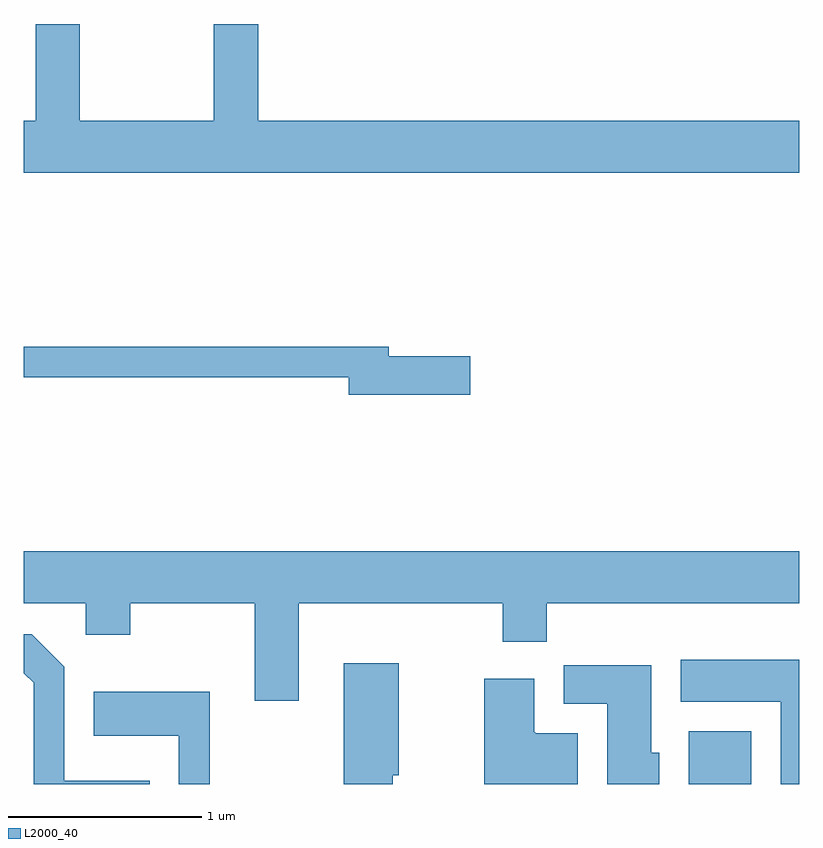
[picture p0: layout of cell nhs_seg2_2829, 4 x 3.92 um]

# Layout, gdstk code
import gdstk
lib = gdstk.Library(unit=1e-6, precision=1e-09)
def R(c, l, rs):  # rectangles x0, y0, x1, y1
    for r in rs: c.add(gdstk.rectangle(r[:2], r[2:], *l))
def P(c, l, *ps):  # polygons
    for p in ps: c.add(gdstk.Polygon(p, *l))
L2000_40 = (2000, 40)

nhs_seg2_2829 = lib.new_cell('nhs_seg2_2829')
R(nhs_seg2_2829, L2000_40, [(271.041,1071.802,271.364,1072.074)])
P(nhs_seg2_2829, L2000_40, [(271.611,1075.224),(268.819,1075.224),(268.819,1075.724),(268.591,1075.724),(268.591,1075.224),(267.899,1075.224),(267.899,1075.724),(267.671,1075.724),(267.671,1075.224),(267.611,1075.224),(267.611,1074.956),(271.611,1074.956)],
  [(269.914,1074.009),(269.494,1074.009),(269.494,1074.059),(267.611,1074.059),(267.611,1073.901),(269.286,1073.901),(269.286,1073.811),(269.914,1073.811)],
  [(269.029,1072.736),(270.081,1072.736),(270.081,1072.536),(270.309,1072.536),(270.309,1072.736),(271.611,1072.736),(271.611,1073.004),(267.611,1073.004),(267.611,1072.736),(267.931,1072.736),(267.931,1072.571),(268.159,1072.571),(268.159,1072.736),(268.801,1072.736),(268.801,1072.231),(269.029,1072.231)],
  [(268.259,1071.819),(267.819,1071.819),(267.819,1072.407),(267.652,1072.574),(267.611,1072.574),(267.611,1072.374),(267.661,1072.324),(267.661,1071.802),(268.259,1071.802)],
  [(271.611,1072.444),(271.001,1072.444),(271.001,1072.226),(271.516,1072.226),(271.516,1071.802),(271.611,1071.802)],
  [(269.514,1071.846),(269.544,1071.846),(269.544,1072.424),(269.261,1072.424),(269.261,1071.802),(269.514,1071.802)],
  [(270.889,1071.964),(270.849,1071.964),(270.849,1072.414),(270.396,1072.414),(270.396,1072.216),(270.621,1072.216),(270.621,1071.802),(270.889,1071.802)],
  [(270.469,1072.064),(270.25,1072.064),(270.25,1072.07),(270.244,1072.07),(270.244,1072.344),(269.986,1072.344),(269.986,1071.802),(270.469,1071.802)],
  [(268.569,1072.279),(267.971,1072.279),(267.971,1072.051),(268.411,1072.051),(268.411,1071.802),(268.569,1071.802)])

lib.write_gds('nhs_seg2_2829.gds')
